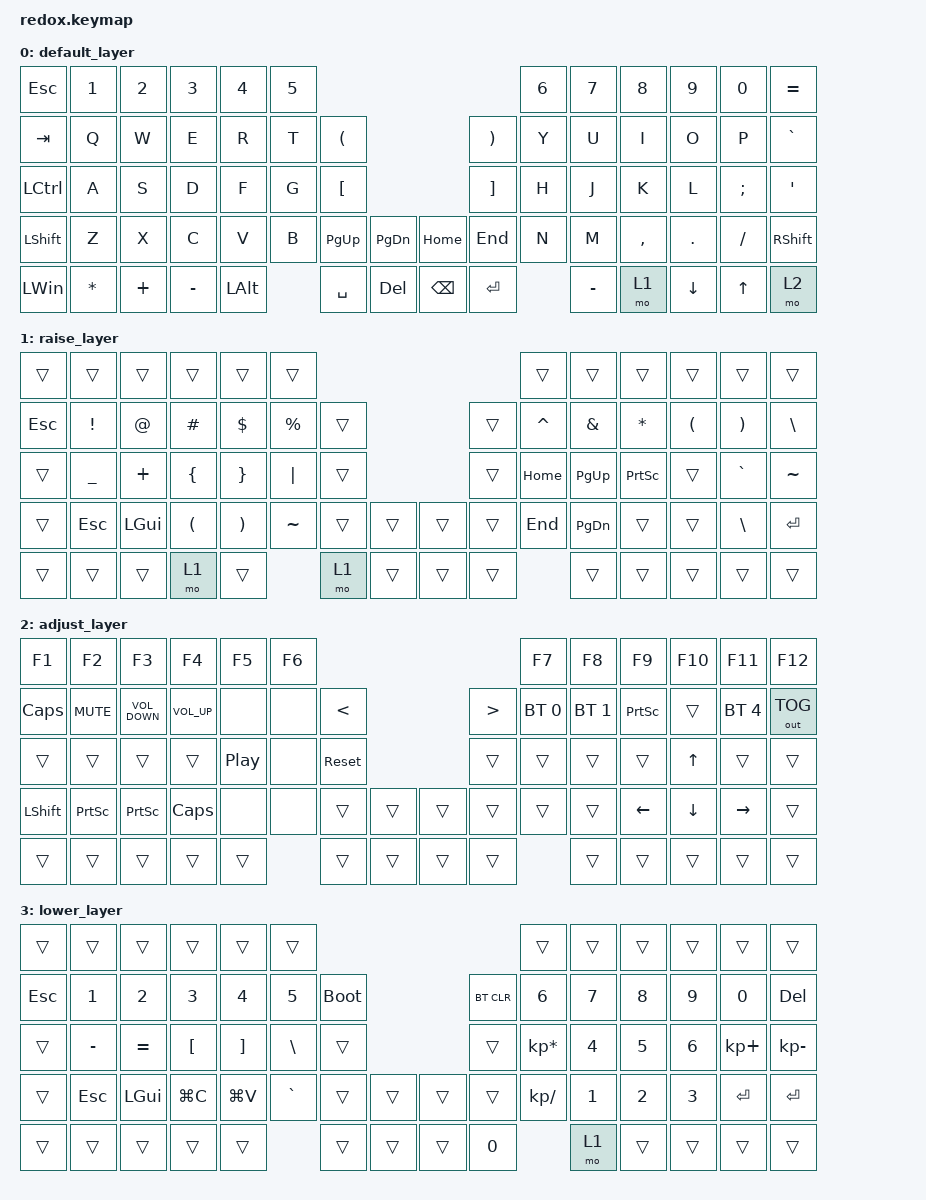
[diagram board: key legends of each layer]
/*
 * Copyright (c) 2021 The ZMK Contributors
 *
 * SPDX-License-Identifier: MIT
 */

#include <behaviors.dtsi>
#include <dt-bindings/zmk/bt.h>
#include <dt-bindings/zmk/keys.h>
#include <dt-bindings/zmk/outputs.h>

/ {
    keymap {
        compatible = "zmk,keymap";

        default_layer {
            // --------------------------------------------------------------------------------------------------------------------------------
            // | ESC   |  1  |  2  |   3   |  4  |  5  |                   ---                |  6    |  7    |  8    |  9   | 0  |    BKSP   |
            // | TAB   |  Q  |  W  |   E   |  R  |  T  |   (   |           ---        |  )    |  Y    |  U    |  I    |  O   | P  |     -     |
            // | CTRL  |  A  |  S  |   D   |  F  |  G  |   [   |           ---        |  ]    |  H    |  J    |  K    |  L   | ;  |     '     |
            // | SHIFT |  Z  |  X  |   C   |  V  |  B  | PG_UP | PG_DOWN | --- | HOME | END   |  N    |  M    |  ,    |  .   | /  | SHFT(RET) |
            // | CRTL  | ALT | GUI | LOWER |    GUI    | LOWER | SPACE   | --- | DEL  | SPACE |     RAISE     | LEFT  | DOWN | UP |   RIGHT   |

            bindings = <
&kp ESC       &kp N1        &kp N2    &kp N3     &kp N4        &kp N5                                                                            &kp N6  &kp N7     &kp N8     &kp N9    &kp N0    &kp EQUAL
&kp TAB       &kp Q         &kp W     &kp E      &kp R         &kp T   &kp LEFT_PARENTHESIS                               &kp RIGHT_PARENTHESIS  &kp Y   &kp U      &kp I      &kp O     &kp P     &kp GRAVE
&kp LCTRL     &kp A         &kp S     &kp D      &kp F         &kp G   &kp LBKT                                           &kp RBKT               &kp H   &kp J      &kp K      &kp L     &kp SEMI  &kp SQT
&kp LSHFT     &kp Z         &kp X     &kp C      &kp V         &kp B   &kp PG_UP             &kp PG_DN     &kp HOME       &kp END                &kp N   &kp M      &kp COMMA  &kp DOT   &kp FSLH  &kp RIGHT_SHIFT
&kp LEFT_WIN  &kp ASTERISK  &kp PLUS  &kp MINUS  &kp LEFT_ALT          &kp SPACE             &kp DELETE    &kp BACKSPACE  &kp ENTER                      &kp MINUS  &mo 1      &kp DOWN  &kp UP    &mo 2
            >;
        };

        raise_layer {
            // ----------------------------------------------------------------------------------------------------------------------------
            // | ESC   |  1  |  2  |   3   |  4  |  5  |                   ---                |  6   |  7   |  8   |  9   |  0    |  DEL  |
            // | ESC   |  !  |  @  |   #   |  $  |  %  |   (   |           ---        |  )    |  ^   |  &   |  *   |  (   |  )    |  DEL  |
            // | CTRL  |  _  |  +  |   {   |  }  | "|" |   [   |           ---        |  ]    | HOME | PGUP | PRSC | UP   |  `    |   ~   |
            // | SHIFT | ESC | GUI |   (   |  )  |     | PG_UP | PG_DOWN | --- | HOME | END   | END  | PGDN | LEFT | DOWN | RIGHT |  RET  |
            // | CRTL  | ALT | GUI | LOWER |    GUI    | LOWER | SPACE   | --- | DEL  | SPACE |    RAISE    | LEFT | DOWN | UP    | RIGHT |

            bindings = <
&trans   &trans     &trans    &trans    &trans    &trans                                       &trans     &trans     &trans     &trans    &trans         &trans
&kp ESC  &kp EXCL   &kp AT    &kp HASH  &kp DLLR  &kp PRCNT  &trans                    &trans  &kp CARET  &kp AMPS   &kp ASTRK  &kp LPAR  &kp RPAR       &kp BACKSLASH
&trans   &kp UNDER  &kp PLUS  &kp LBRC  &kp RBRC  &kp PIPE   &trans                    &trans  &kp HOME   &kp PG_UP  &kp PSCRN  &trans    &kp GRAVE      &kp TILDE
&trans   &kp ESC    &kp LGUI  &kp LPAR  &kp RPAR  &kp TILDE  &trans  &trans    &trans  &trans  &kp END    &kp PG_DN  &trans     &trans    &kp BACKSLASH  &kp RET
&trans   &trans     &trans    &mo 1     &trans               &mo 1   &trans    &trans  &trans             &trans     &trans     &trans    &trans         &trans
            >;
        };

        adjust_layer {
            // -----------------------------------------------------------------------------------------
            // |  F1   |  F2   |    F3    |    F4     |     F5     | F6 |                   ---                | F7  | F8  |  F9  |  F10 | F11 | F12        |
            // | TAB   |       |          |           |            |    | BOOTL |           ---        |  )    | BT1 | BT2 |  BT3 |  BT4 | BT5 | OUTPUT TGL |
            // | CTRL  | MUTE  |  Vol Dn  |  Vol Up   | Play/Pause |    | RESET |           ---        |  ]    | F1  | F2  |  F3  |  F4  | F5  | F6         |
            // | SHIFT | PSCRN |  PSCRN   |   CAPS    |            |    | PG_UP | PG_DOWN | --- | HOME | END   | F7  | F8  |  F9  |  F10 | F11 | F12        |
            // | CRTL  | ALT   |  GUI     |   LOWER   |      GUI        | LOWER | SPACE   | --- | DEL  | SPACE |   RAISE   | LEFT | DOWN | UP  |   RIGHT    |

            bindings = <
&kp F1          &kp F2      &kp F3             &kp F4           &kp F5            &kp F6                                                     &kp F7        &kp F8        &kp F9           &kp F10         &kp F11          &kp F12
&kp CAPSLOCK    &kp K_MUTE  &kp C_VOLUME_DOWN  &kp C_VOLUME_UP  &none             &none   &kp LESS_THAN                    &kp GREATER_THAN  &bt BT_SEL 0  &bt BT_SEL 1  &kp PRINTSCREEN  &trans          &bt BT_SEL 4     &out OUT_TOG
&trans          &trans      &trans             &trans           &kp C_PLAY_PAUSE  &none   &sys_reset                       &trans            &trans        &trans        &trans           &kp UP_ARROW    &trans           &trans
&kp LEFT_SHIFT  &kp PSCRN   &kp PSCRN          &kp CLCK         &none             &none   &trans         &trans    &trans  &trans            &trans        &trans        &kp LEFT_ARROW   &kp DOWN_ARROW  &kp RIGHT_ARROW  &trans
&trans          &trans      &trans             &trans           &trans                    &trans         &trans    &trans  &trans                          &trans        &trans           &trans          &trans           &trans
            >;
        };

        lower_layer {
            // --------------------------------------------------------------------------------------------------------------------------
            // | ESC   |  1  |  2  |   3   |   4   |  5  |                   ---              |  6  |  7  |   8  |  9   |  0  |  DEL  |
            // | ESC   |  1  |  2  |   3   |   4   |  5  |   (   |           ---        |  )  |  6  |  7  |   8  |  9   |  0  |  DEL  |
            // | CTRL  |  -  |  =  |   [   |   ]   |  \  |   [   |           ---        |  ]  |  *  |  4  |   5  |  6   |  +  |   -   |
            // | SHIFT | ESC | GUI | COPY  | PASTE |     | PG_UP | PG_DOWN | --- | HOME | END |  \  |  1  |   2  |  3   | RET |  RET  |
            // | CRTL  | ALT | GUI | LOWER |     GUI     | LOWER | SPACE   | --- | DEL  |  0  |    RAISE  | LEFT | DOWN | UP  | RIGHT |

            bindings = <
&trans   &trans     &trans     &trans     &trans     &trans                                                &trans           &trans  &trans  &trans  &trans       &trans
&kp ESC  &kp N1     &kp N2     &kp N3     &kp N4     &kp N5     &bootloader                    &bt BT_CLR  &kp N6           &kp N7  &kp N8  &kp N9  &kp N0       &kp DEL
&trans   &kp MINUS  &kp EQUAL  &kp LBKT   &kp RBKT   &kp BSLH   &trans                         &trans      &kp KP_MULTIPLY  &kp N4  &kp N5  &kp N6  &kp KP_PLUS  &kp KP_MINUS
&trans   &kp ESC    &kp LGUI   &kp LG(C)  &kp LG(V)  &kp GRAVE  &trans       &trans    &trans  &trans      &kp KP_DIVIDE    &kp N1  &kp N2  &kp N3  &kp RET      &kp RET
&trans   &trans     &trans     &trans     &trans                &trans       &trans    &trans  &kp N0                       &mo 1   &trans  &trans  &trans       &trans
            >;
        };
    };
};
